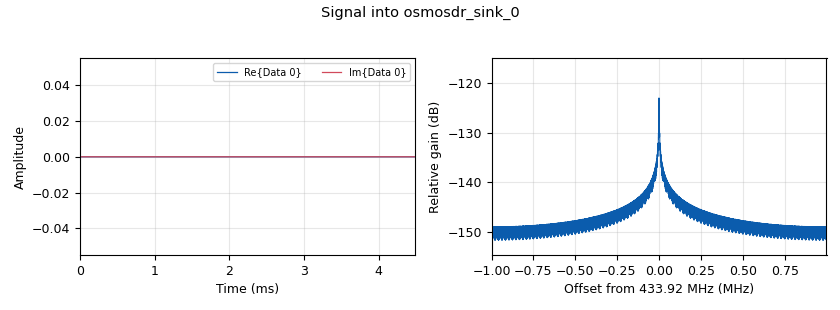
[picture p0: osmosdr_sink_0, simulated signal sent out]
options:
  parameters:
    generate_options: no_gui
    id: hunter_remote_transmit
    output_language: python
    run_options: run
    title: Hunter Remote ON/OFF
  states: {}

blocks:
- name: COMMAND_GAP
  id: variable
  parameters:
    value: '"0"*62'
  states: {}
- name: ON_COMMAND
  id: variable
  parameters:
    value: '[int(b) for b in ((PREAMBLE+ON_START+COMMAND_GAP)*2+(PREAMBLE+ON_END+COMMAND_GAP)*2)]'
  states: {}
- name: ON_END
  id: variable
  parameters:
    value: '"110110110100100100100100110110110110110100100100100110110100110110110100100100100110110110110110110110110100100110110100110100100100110100100100100100100100100110110110100110110110110110110110110100"'
  states: {}
- name: ON_START
  id: variable
  parameters:
    value: '"110110110100100100100100110110110110110100100100100110110100110110110100100100100110110110110110110110110100100110110100110100100100110100100100100100100100100110110110100110110110110110110110110100"'
  states: {}
- name: PREAMBLE
  id: variable
  parameters:
    value: '"101010101010101010101010000000000000"'
  states: {}
- name: baud
  id: variable
  parameters:
    value: '2500'
  states: {}
- name: freq
  id: variable
  parameters:
    value: 433.92e6
  states: {}
- name: samp_rate
  id: variable
  parameters:
    value: 2e6
  states: {}
- name: sps
  id: variable
  parameters:
    value: int(samp_rate/baud)
  states: {}
- name: blocks_repeat_0
  id: blocks_repeat
  parameters:
    interp: sps
    type: complex
  states: {}
- name: blocks_vector_source_x_0_0
  id: blocks_vector_source_x
  parameters:
    repeat: 'False'
    type: complex
    vector: ON_COMMAND + [0]*4096
  states: {}
- name: osmosdr_sink_0
  id: osmosdr_sink
  parameters:
    bb_gain0: '30'
    freq0: freq
    gain0: '60'
    if_gain0: '50'
    sample_rate: samp_rate
    sync: sync
    type: fc32
  states: {}

connections:
- [blocks_repeat_0, '0', osmosdr_sink_0, '0']
- [blocks_vector_source_x_0_0, '0', blocks_repeat_0, '0']

metadata:
  file_format: 1
